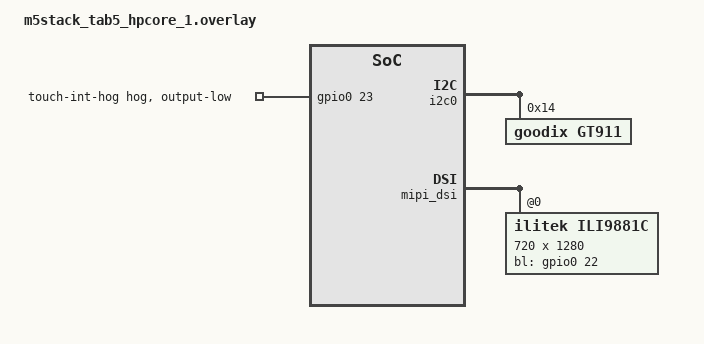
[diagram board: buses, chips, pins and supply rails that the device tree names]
/*
 * SPDX-FileCopyrightText: Copyright The Zephyr Project Contributors
 * SPDX-License-Identifier: Apache-2.0
 */

/* Board revision 1: Ilitek ILI9881C display and Goodix GT911 touch controller */

#include "m5stack_tab5_display.dtsi"

/ {
	chosen {
		zephyr,touch = &gt911;
	};
};

/*
 * A pull-up on the touch interrupt line keeps the GT911 from working, so the
 * line is driven low and the controller is polled.
 */
&gpio0 {
	touch-int-hog {
		gpio-hog;
		gpios = <23 GPIO_ACTIVE_HIGH>;
		output-low;
	};
};

&i2c0 {
	gt911: touch-controller@14 {
		compatible = "goodix,gt911";
		reg = <0x14>;
		alt-addr = <0x5d>;
		screen-width = <720>;
		screen-height = <1280>;
	};
};

&mipi_dsi {
	phy-clock = <1000000000>;
	dpi-clock-frequency = <60000000>;

	ili9881c: panel-controller@0 {
		compatible = "ilitek,ili9881c";
		reg = <0>;
		init-sequence = "m5stack-tab5";
		data-lanes = <2>;
		pixel-format = <MIPI_DSI_PIXFMT_RGB888>;
		width = <720>;
		height = <1280>;
		bl-gpios = <&gpio0 22 GPIO_ACTIVE_HIGH>;

		/*
		 * The ILI9881C driver takes the back porches as including the
		 * sync pulses: 140 + 40 horizontally and 20 + 4 vertically.
		 */
		display-timings {
			compatible = "zephyr,panel-timing";
			hsync-len = <40>;
			hback-porch = <180>;
			hfront-porch = <40>;
			vsync-len = <4>;
			vback-porch = <24>;
			vfront-porch = <20>;
			hsync-active = <0>;
			vsync-active = <0>;
			de-active = <1>;
			pixelclk-active = <0>;
		};
	};
};

&dsi_display {
	pixel-format = <PANEL_PIXEL_FORMAT_RGB_888>;
};
